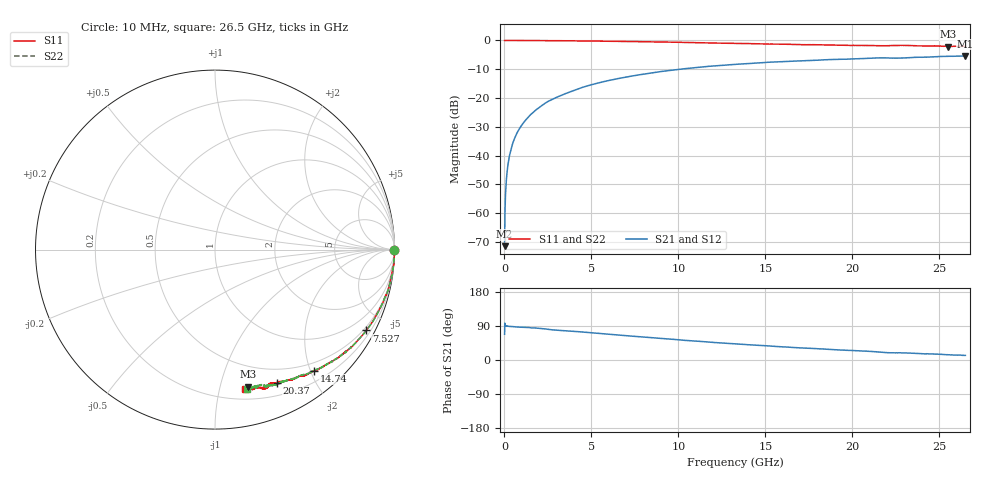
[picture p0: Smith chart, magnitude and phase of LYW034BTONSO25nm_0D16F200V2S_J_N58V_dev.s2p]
!Keysight Technologies,N5222B,MY61253708,A.15.00.15
!Date: Wednesday, June 19, 2024 09:12:04
!Correction: S11(C  2-Port  )
!S21(C  2-Port  )
!S12(C  2-Port  )
!S22(C  2-Port  )
!S2P File: Measurements: S11, S21, S12, S22:
# Hz S  RI  R 50
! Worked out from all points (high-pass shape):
!   2651 points, 10 MHz to 26.5 GHz, reference 50 ohm
!   highest |S21| = -5.34 dB at 26.5 GHz (marker M1); lowest = -71.4 dB at 10 MHz (marker M2)
!   |S21| within 3 dB of the highest: 13.17 GHz to end of sweep
!   lowest |S11| = -2.1 dB at 25.5 GHz (marker M3), VSWR 8.31, Z = 15.4 - j61.2 ohm
!   |S11| at or under -10 dB: nowhere
!   |S22| runs from -2.0 to 0.0 dB; largest |S21 - S12| = 0.0068
!   S11 on the Smith chart (normalised r, x): 10 MHz: open; 7.527 GHz: 0.39, -3.96; 14.74 GHz: 0.37, -2.06; 20.37 GHz: 0.33, -1.52; 26.5 GHz: 0.28, -1.20
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1e7  0.9989 -0.00246  0.000101 0.000249  0.000117 0.000411  0.9986 -0.00113
6.997736e7  1 -0.0053  4.48e-05 0.0024  1.67e-05 0.00245  0.9996 -0.00489
1.599434e8  0.9998 -0.0117  6.97e-05 0.0055  6.6e-05 0.00552  0.9995 -0.0111
1.999283e8  0.9999 -0.0141  8.89e-05 0.0069  9.24e-05 0.00692  0.9996 -0.0134
2.499094e8  0.9994 -0.0178  0.000155 0.00856  0.000162 0.00866  0.9992 -0.017
3.498717e8  0.9995 -0.0247  0.000317 0.012  0.000295 0.0121  0.9993 -0.0238
4.798226e8  0.9987 -0.0337  0.000546 0.0164  0.000512 0.0165  0.9985 -0.0326
8.296906e8  0.9977 -0.0572  0.00162 0.0283  0.00164 0.0285  0.9977 -0.0565
1.449457e9  0.9898 -0.1004  0.00386 0.0496  0.00393 0.0498  0.9922 -0.0971
2.329125e9  0.9803 -0.1559  0.0109 0.0803  0.0111 0.0809  0.9815 -0.1567
3.148815e9  0.9684 -0.2095  0.0221 0.1055  0.0223 0.1062  0.9693 -0.2089
4.428332e9  0.9384 -0.2875  0.0414 0.1458  0.0418 0.1468  0.9398 -0.2851
5.817808e9  0.899 -0.3639  0.0722 0.1826  0.0733 0.1836  0.9009 -0.3645
7.527162e9  0.8425 -0.4501  0.1149 0.2183  0.1164 0.2193  0.8423 -0.4511
8.846664e9  0.7915 -0.5099  0.1529 0.2402  0.1545 0.241  0.7923 -0.5087
1.3255e10  0.611 -0.6462  0.2827 0.2603  0.2851 0.2602  0.6136 -0.6451
1.474444e10  0.5523 -0.6749  0.321 0.2543  0.3233 0.2539  0.5541 -0.6718
1.767333e10  0.4364 -0.7206  0.3881 0.2282  0.3917 0.2266  0.4462 -0.7182
2.037231e10  0.3458 -0.7441  0.4401 0.1991  0.4431 0.1962  0.361 -0.745
2.209166e10  0.3022 -0.7487  0.4684 0.1635  0.4703 0.1607  0.2955 -0.7547
2.550038e10  0.1845 -0.7631  0.5154 0.1251  0.5171 0.1254  0.2043 -0.7662
2.65e10  0.1664 -0.7781  0.5287 0.1144  0.528 0.1108  0.1783 -0.7764
